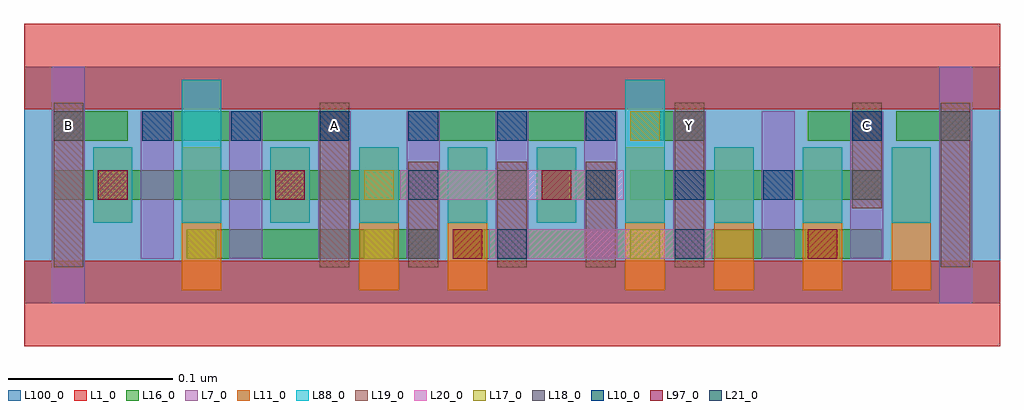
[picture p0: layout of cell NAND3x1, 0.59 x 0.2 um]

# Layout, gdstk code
import gdstk
lib = gdstk.Library(unit=1e-6, precision=2.5e-10)
def R(c, l, rs):  # rectangles x0, y0, x1, y1
    for r in rs: c.add(gdstk.rectangle(r[:2], r[2:], *l))
def A(c, l, x, y, w, h, nx, ny, dx, dy):  # array of equal rectangles
    R(c, l, [(x+i*dx, y+j*dy, x+i*dx+w, y+j*dy+h) for i in range(nx) for j in range(ny)])
L1_0 = (1, 0)
L7_0 = (7, 0)
L10_0 = (10, 0)
L11_0 = (11, 0)
L16_0 = (16, 0)
L17_0 = (17, 0)
L18_0 = (18, 0)
L19_0 = (19, 0)
L20_0 = (20, 0)
L21_0 = (21, 0)
L88_0 = (88, 0)
L97_0 = (97, 0)
L100_0 = (100, 0)

nand3x1 = lib.new_cell('NAND3x1')
R(nand3x1, L1_0, [(0,-0.026,0.594,0.026), (0,0.118,0.594,0.17)])
A(nand3x1, L7_0, 0.071, 0.027, 0.02, 0.09, 9, 1, 0.054, 0)
R(nand3x1, L7_0, [(0.017,0,0.037,0.144), (0.557,0,0.577,0.144)])
A(nand3x1, L10_0, 0.072, 0.099, 0.018, 0.018, 6, 1, 0.054, 0)
R(nand3x1, L10_0, [(0.396,0.063,0.414,0.081), (0.45,0.063,0.468,0.081), (0.504,0.099,0.522,0.117)])
A(nand3x1, L11_0, 0.366, 0.008, 0.024, 0.087, 4, 1, 0.054, 0)
R(nand3x1, L11_0, [(0.096,0.008,0.12,0.095), (0.204,0.008,0.228,0.095), (0.258,0.008,0.282,0.095), (0.042,0.049,0.066,0.095), (0.15,0.049,0.174,0.095), (0.312,0.049,0.336,0.095)])
R(nand3x1, L16_0, [(0.099,0.027,0.252,0.045), (0.261,0.027,0.522,0.045), (0.018,0.063,0.306,0.081), (0.315,0.063,0.36,0.081), (0.369,0.063,0.522,0.081), (0.018,0.099,0.063,0.117), (0.072,0.099,0.198,0.117), (0.234,0.099,0.36,0.117), (0.369,0.099,0.414,0.117), (0.477,0.099,0.522,0.117), (0.531,0.099,0.576,0.117)])
A(nand3x1, L17_0, 0.261, 0.027, 0.018, 0.018, 3, 1, 0.108, 0)
R(nand3x1, L17_0, [(0.099,0.027,0.117,0.045), (0.207,0.027,0.225,0.045), (0.045,0.063,0.063,0.081), (0.153,0.063,0.171,0.081), (0.207,0.063,0.225,0.081), (0.315,0.063,0.333,0.081), (0.369,0.099,0.387,0.117)])
R(nand3x1, L18_0, [(0.234,0.027,0.252,0.045), (0.288,0.063,0.306,0.081), (0.342,0.063,0.36,0.081), (0.504,0.063,0.522,0.081), (0.018,0.099,0.036,0.117), (0.18,0.099,0.198,0.117), (0.396,0.099,0.414,0.117), (0.504,0.099,0.522,0.117), (0.558,0.099,0.576,0.117)])
A(nand3x1, L19_0, 0.234, 0.022, 0.018, 0.064, 3, 1, 0.054, 0)
R(nand3x1, L19_0, [(0.018,0.022,0.036,0.122), (0.18,0.022,0.198,0.122), (0.396,0.022,0.414,0.122), (0.558,0.022,0.576,0.122), (0.504,0.058,0.522,0.122)])
R(nand3x1, L20_0, [(0.283,0.027,0.419,0.045), (0.229,0.063,0.365,0.081)])
R(nand3x1, L21_0, [(0.288,0.027,0.306,0.045), (0.396,0.027,0.414,0.045), (0.234,0.063,0.252,0.081), (0.342,0.063,0.36,0.081)])
A(nand3x1, L88_0, 0.15, 0.049, 0.024, 0.046, 4, 1, 0.054, 0)
A(nand3x1, L88_0, 0.42, 0.049, 0.024, 0.046, 3, 1, 0.054, 0)
R(nand3x1, L88_0, [(0.042,0.049,0.066,0.095), (0.096,0.049,0.12,0.136), (0.366,0.049,0.39,0.136)])
R(nand3x1, L97_0, [(0.261,0.027,0.279,0.045), (0.477,0.027,0.495,0.045), (0.045,0.063,0.063,0.081), (0.153,0.063,0.171,0.081), (0.315,0.063,0.333,0.081)])
R(nand3x1, L100_0, [(0,0,0.594,0.144)])
nand3x1.add(gdstk.Label('A', (0.189,0.108), layer=19, texttype=251))
nand3x1.add(gdstk.Label('B', (0.027,0.108), layer=19, texttype=251))
nand3x1.add(gdstk.Label('C', (0.513,0.108), layer=19, texttype=251))
nand3x1.add(gdstk.Label('Y', (0.405,0.108), layer=19, texttype=251))

lib.write_gds('NAND3x1.gds')
